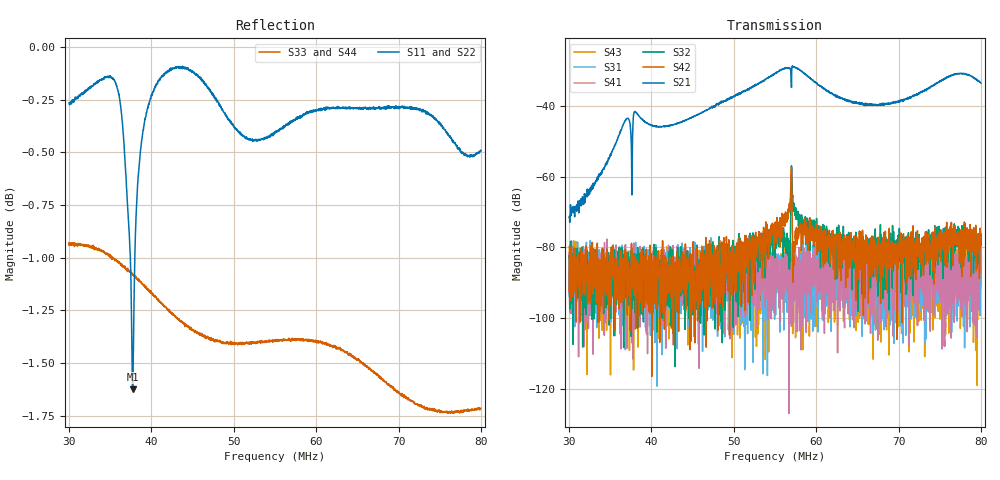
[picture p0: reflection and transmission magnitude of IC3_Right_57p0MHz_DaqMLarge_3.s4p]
#  HZ  S  DB  R  50.00
! Rohde & Schwarz Vector Network Analyzer
! Rohde-Schwarz,ZNB8-4Port,1311601044102961,2.82
! Created: UTC 2/12/2019, 2:32:30 PM
! freq[Hz]  db:S11  ang:S11  db:S12  ang:S12  db:S13  ang:S13  db:S14  ang:S14
!  db:S21  ang:S21  db:S22  ang:S22  db:S23  ang:S23  db:S24  ang:S24
!  db:S31  ang:S31  db:S32  ang:S32  db:S33  ang:S33  db:S34  ang:S34
!  db:S41  ang:S41  db:S42  ang:S42  db:S43  ang:S43  db:S44  ang:S44
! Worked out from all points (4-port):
!   2001 points, 30 MHz to 80 MHz, reference 50 ohm
!   strongest paths, dB at 30 MHz, 42.5 MHz, 55 MHz, 67.5 MHz, 80 MHz:
!     S21: -71.4, -45.4, -30.9, -39.9, -33.7
!     S42: -92.3, -96.2, -73.4, -78.4, -80.2
!     S32: -82.3, -87.6, -75.2, -78.3, -79.4
!     S41: -81.4, -91.2, -80.0, -82.1, -85.4
!     S31: -93.7, -90.3, -89.0, -84.0, -88.2
!     S43: -88.5, -88.3, -87.2, -85.5, -82.9
!   lowest |S11| = -1.6 dB at 37.73 MHz (marker M1), VSWR 10.73, Z = 45.7 - j142 ohm
!   |S11| at or under -10 dB: nowhere
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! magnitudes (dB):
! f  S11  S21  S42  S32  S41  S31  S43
! 30 MHz  -0.3  -71.4  -92.3  -82.3  -81.4  -93.7  -88.5
! 37.73 MHz  -1.6  -46.8  -83.1  -95.0  -90.9  -92.2  -83.8
! 52.65 MHz  -0.4  -34.2  -75.7  -78.3  -93.4  -85.4  -82.7
! 56.8 MHz  -0.4  -29.5  -69.5  -82.8  -101.4  -86.4  -90.6
! 57.38 MHz  -0.3  -29.2  -81.0  -69.6  -94.7  -87.0  -88.5
! 66.45 MHz  -0.3  -39.9  -84.1  -77.5  -91.9  -85.3  -82.0
! 80 MHz  -0.5  -33.7  -80.2  -79.4  -85.4  -88.2  -82.9
